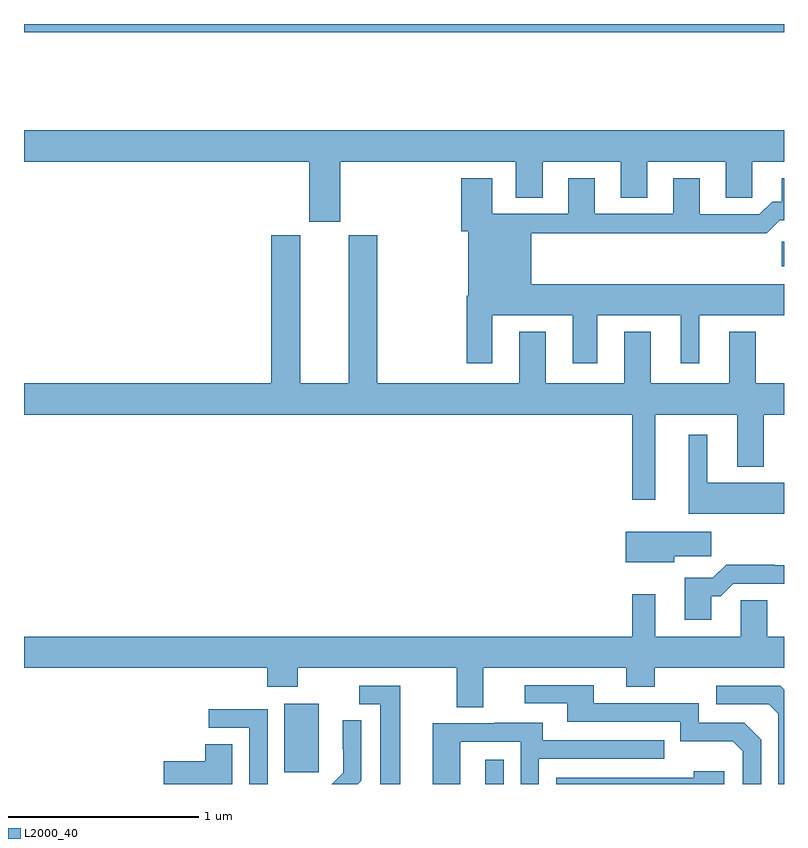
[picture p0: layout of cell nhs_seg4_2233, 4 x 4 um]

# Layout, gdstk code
import gdstk
lib = gdstk.Library(unit=1e-6, precision=1e-09)
def R(c, l, rs):  # rectangles x0, y0, x1, y1
    for r in rs: c.add(gdstk.rectangle(r[:2], r[2:], *l))
def P(c, l, *ps):  # polygons
    for p in ps: c.add(gdstk.Polygon(p, *l))
L2000_40 = (2000, 40)

nhs_seg4_2233 = lib.new_cell('nhs_seg4_2233')
R(nhs_seg4_2233, L2000_40, [(229.427,770.9,229.524,771.028), (228.371,770.961,228.55,771.322), (230.988,773.624,231,773.753), (227,774.856,231,774.9)])
P(nhs_seg4_2233, L2000_40, [(228.664,774.176),(229.589,774.176),(229.589,773.986),(229.729,773.986),(229.729,774.176),(230.141,774.176),(230.141,773.986),(230.281,773.986),(230.281,774.176),(230.693,774.176),(230.693,773.986),(230.832,773.986),(230.832,774.176),(231,774.176),(231,774.34),(227,774.34),(227,774.176),(228.5,774.176),(228.5,773.859),(228.664,773.859)],
  [(229.465,773.366),(229.889,773.366),(229.889,773.115),(230.017,773.115),(230.017,773.366),(230.456,773.366),(230.456,773.115),(230.554,773.115),(230.554,773.366),(231,773.366),(231,773.53),(229.669,773.53),(229.669,773.8),(230.653,773.8),(230.653,773.798),(230.909,773.798),(230.978,773.867),(231,773.867),(231,774.088),(230.987,774.088),(230.987,773.965),(230.938,773.965),(230.871,773.898),(230.557,773.898),(230.557,774.088),(230.417,774.088),(230.417,773.901),(230.005,773.901),(230.005,774.088),(229.865,774.088),(229.865,773.901),(229.465,773.901),(229.465,774.088),(229.301,774.088),(229.301,773.808),(229.337,773.808),(229.337,773.47),(229.33,773.47),(229.33,773.115),(229.465,773.115)],
  [(230.299,773.281),(230.159,773.281),(230.159,773.008),(229.747,773.008),(229.747,773.281),(229.607,773.281),(229.607,773.008),(228.858,773.008),(228.858,773.787),(228.71,773.787),(228.71,773.008),(228.454,773.008),(228.454,773.787),(228.302,773.787),(228.302,773.008),(227,773.008),(227,772.844),(230.202,772.844),(230.202,772.395),(230.323,772.395),(230.323,772.844),(230.753,772.844),(230.753,772.571),(230.893,772.571),(230.893,772.844),(231,772.844),(231,773.008),(230.851,773.008),(230.851,773.281),(230.711,773.281),(230.711,773.008),(230.299,773.008)],
  [(231,772.486),(230.596,772.486),(230.596,772.738),(230.498,772.738),(230.498,772.322),(231,772.322)],
  [(230.422,772.099),(230.617,772.099),(230.617,772.228),(230.168,772.228),(230.168,772.067),(230.422,772.067)],
  [(230.617,771.887),(230.666,771.887),(230.733,771.954),(231,771.954),(231,772.052),(230.951,772.052),(230.951,772.055),(230.696,772.055),(230.626,771.985),(230.477,771.985),(230.477,771.765),(230.617,771.765)],
  [(229.417,771.512),(230.171,771.512),(230.171,771.413),(230.319,771.413),(230.319,771.512),(231,771.512),(231,771.676),(230.911,771.676),(230.911,771.866),(230.772,771.866),(230.772,771.676),(230.323,771.676),(230.323,771.898),(230.202,771.898),(230.202,771.676),(227,771.676),(227,771.512),(228.281,771.512),(228.281,771.413),(228.441,771.413),(228.441,771.512),(229.277,771.512),(229.277,771.304),(229.417,771.304)],
  [(230.88,771.132),(230.79,771.222),(230.55,771.222),(230.55,771.324),(229.999,771.324),(229.999,771.42),(229.635,771.42),(229.635,771.324),(229.859,771.324),(229.859,771.228),(230.454,771.228),(230.454,771.125),(230.731,771.125),(230.784,771.072),(230.784,770.9),(230.88,770.9)],
  [(231,771.396),(230.979,771.417),(230.643,771.417),(230.643,771.321),(230.919,771.321),(230.97,771.27),(230.97,770.9),(231,770.9)],
  [(228.979,771.417),(228.765,771.417),(228.765,771.321),(228.875,771.321),(228.875,770.9),(228.979,770.9)],
  [(228.282,771.294),(227.973,771.294),(227.973,771.195),(228.186,771.195),(228.186,770.9),(228.282,770.9)],
  [(228.774,770.918),(228.774,771.236),(228.678,771.236),(228.678,771.082),(228.68,771.082),(228.68,770.96),(228.62,770.9),(228.756,770.9)],
  [(229.296,771.123),(229.614,771.123),(229.614,770.9),(229.71,770.9),(229.71,771.033),(230.369,771.033),(230.369,771.129),(229.729,771.129),(229.729,771.223),(229.475,771.223),(229.475,771.219),(229.151,771.219),(229.151,770.9),(229.296,770.9)],
  [(228.097,771.11),(227.954,771.11),(227.954,771.02),(227.736,771.02),(227.736,770.9),(228.097,770.9)],
  [(230.686,770.968),(230.525,770.968),(230.525,770.934),(229.8,770.934),(229.8,770.9),(230.686,770.9)])

lib.write_gds('nhs_seg4_2233.gds')
